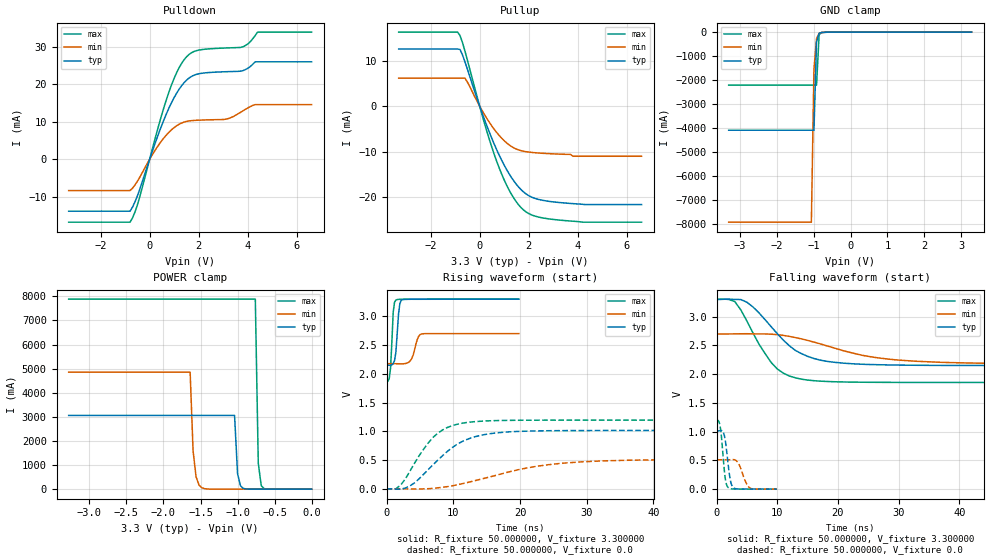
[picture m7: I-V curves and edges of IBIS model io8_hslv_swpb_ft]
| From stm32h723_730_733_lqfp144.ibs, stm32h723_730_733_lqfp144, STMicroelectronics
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|   Model io8_hslv_swpb_ft
[Model]  io8_hslv_swpb_ft
Model_type I/O
Polarity   Non-Inverting
Enable   Active-High
Vinl =   0.990000V
Vinh =   2.310000V
Vmeas =  1.650000V
Cref =   30.000000pF
Rref =   100.000000M
Vref =   0.0V
C_comp   3.967800pF   3.912100pF   4.043600pF
[Temperature Range]   25.000000   0.140000k   -40.000000
[Pullup Reference]   3.300000V   2.700000V   3.300000V
[Pulldown Reference]   0.0V   0.0V   0.0V
[POWER Clamp Reference]   3.300000V   2.700000V   3.600000V
[GND Clamp Reference]   0.0V   0.0V   0.0V
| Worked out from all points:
|   slope of the pulldown table from 0 to 0.495 V, typ, clamps not added: 54.3 ohm
|   slope of the pullup table from 0 to 0.495 V, typ, clamps not added: 70 ohm
|   GND clamp passes 1 mA (typ) near -0.47 V on its own axis
|   POWER clamp passes 1 mA (typ) near -0.83 V on its own axis
|   rising waveform, R_fixture 50.000000, V_fixture 3.300000: 20-80 % time 426ps typ, 771ps min, 355ps max; typ from 2.15 V to 3.3 V
|   rising waveform, R_fixture 50.000000, V_fixture 0.0: 20-80 % time 6.02ns typ, 11.6ns min, 4.41ns max; typ from 0 V to 1.01 V
|   falling waveform, R_fixture 50.000000, V_fixture 3.300000: 20-80 % time 6.61ns typ, 12.1ns min, 4.97ns max; typ from 3.3 V to 2.15 V
|   falling waveform, R_fixture 50.000000, V_fixture 0.0: 20-80 % time 707ps typ, 1.11ns min, 611ps max; typ from 1.01 V to 0 V
[Pulldown]
|Voltage   I(typ)   I(min)   I(max)
-3.3V     -13.9mA    -8.376mA   -16.84mA
-800mV    -13.9mA    -8.376mA   -16.84mA
-500mV    -9.826mA   -5.888mA   -12.25mA
200mV     3.841mA    2.171mA    4.986mA
800mV     13.88mA    7.302mA    18.24mA
1.2V      18.72mA    9.355mA    24.47mA
1.6V      21.68mA    10.23mA    27.99mA
2V        22.85mA    10.44mA    29.18mA
3.1V      23.4mA     10.71mA    29.75mA
3.8V      23.69mA    12.93mA    30.06mA
4.4V      26.05mA    14.6mA     34mA
6.6V      26.05mA    14.6mA     34mA
[Pullup]
|Voltage   I(typ)   I(min)   I(max)
-3.3V     12.54mA    6.145mA    16.24mA
-900mV    12.54mA    6.145mA    16.24mA
-800mV    12.42mA    6.145mA    15.49mA
-600mV    9.743mA    6.145mA    12.1mA
200mV     -2.991mA   -1.885mA   -3.825mA
700mV     -9.639mA   -5.823mA   -12.19mA
1V        -12.95mA   -7.595mA   -16.2mA
1.3V      -15.7mA    -8.872mA   -19.38mA
1.8V      -18.88mA   -9.913mA   -22.84mA
2.3V      -20.32mA   -10.25mA   -24.21mA
3.1V      -21.07mA   -10.5mA    -24.92mA
6.6V      -21.6mA    -11mA      -25.47mA
[GND_clamp]
|Voltage   I(typ)   I(min)   I(max)
-3.3V     -4.099A    -7.939A    -2.216A
-1.06V    -4.099A    -7.939A    -2.216A
-990mV    -4.099A    -1.545A    -2.216A
-920mV    -409.4mA   -268.6mA   -2.216A
-850mV    -47.02mA   -52.58mA   -111mA
-780mV    -15.54mA   -17.16mA   -18.52mA
-500mV    -1.413mA   -2.074mA   -1.238mA
3.28V     0A         -20.35nA   0A
[POWER_clamp]
|Voltage   I(typ)   I(min)   I(max)
-3.28V    3.058A     4.852A     7.885A
-1.64V    3.058A     4.852A     7.885A
-1.6V     3.058A     1.577A     7.885A
-1.56V    3.058A     512.9mA    7.885A
-1.52V    3.058A     166.8mA    7.885A
-1.04V    3.058A     686.1nA    7.885A
-1V       644.7mA    523.2nA    7.885A
-960mV    135.9mA    466.4nA    7.885A
-760mV    56.56uA    413.9nA    7.885A
-720mV    11.93uA    408.4nA    1.077A
-680mV    2.519uA    403nA      147.1mA
0V        0A         55.01nA    0A
[Ramp]
| variable   typ   min   max
dV/dt_r  0.60912/6.05469n   0.30591/11.63680n   0.71544/4.40780n
dV/dt_f  0.69030/6.60941n   0.31458/12.05950n   0.86748/4.95506n
R_load = 50.000000
[Rising Waveform]
R_fixture= 50.000000
V_fixture= 3.300000
V_fixture_min= 2.700000
V_fixture_max= 3.300000
|time   V(typ)   V(min)   V(max)
0s        2.15V      2.176V     1.855V
600.6ps   2.15V      2.176V     2.096V
1.001ns   2.176V     2.176V     3.073V
1.401ns   2.376V     2.176V     3.283V
1.802ns   3.043V     2.175V     3.294V
2.002ns   3.225V     2.174V     3.296V
2.402ns   3.289V     2.174V     3.297V
3.604ns   3.297V     2.233V     3.298V
5.205ns   3.297V     2.692V     3.299V
19.82ns   3.298V     2.7V       3.3V
[Rising Waveform]
R_fixture= 50.000000
V_fixture= 0.0
V_fixture_min= 0.0
V_fixture_max= 0.0
|time   V(typ)   V(min)   V(max)
0s        144.5uV    1.836uV    -1.482mV
1.401ns   -4.87mV    54.72uV    1.619mV
2.102ns   -5.954mV   64uV       63.28mV
4.204ns   104.1mV    -3.545mV   447.1mV
6.306ns   341.1mV    2.231mV    805.8mV
7.708ns   501.6mV    17.76mV    970mV
11.91ns   852.5mV    104mV      1.152V
17.52ns   983.8mV    269.1mV    1.189V
28.73ns   1.013V     465.1mV    1.194V
69.37ns   1.014V     509.8mV    1.194V
[Falling Waveform]
R_fixture= 50.000000
V_fixture= 3.300000
V_fixture_min= 2.700000
V_fixture_max= 3.300000
|time   V(typ)   V(min)   V(max)
0s        3.298V     2.7V       3.3V
3.003ns   3.3V       2.701V     3.264V
5.005ns   3.252V     2.703V     2.924V
7.007ns   3.066V     2.7V       2.521V
10.01ns   2.705V     2.687V     2.091V
13.01ns   2.412V     2.636V     1.936V
15.02ns   2.31V      2.587V     1.897V
24.02ns   2.173V     2.328V     1.86V
33.03ns   2.154V     2.224V     1.856V
99.1ns    2.15V      2.176V     1.855V
[Falling Waveform]
R_fixture= 50.000000
V_fixture= 0.0
V_fixture_min= 0.0
V_fixture_max= 0.0
|time   V(typ)   V(min)   V(max)
0s        1.014V     509.8mV    1.194V
600.6ps   1.018V     509.7mV    1.09V
1.201ns   965.4mV    509.5mV    420.9mV
1.502ns   808.1mV    509.1mV    142.8mV
1.902ns   442.8mV    509mV      28.62mV
2.402ns   100.2mV    512.3mV    4.138mV
2.903ns   15.94mV    511.5mV    937.4uV
3.704ns   1.919mV    429.2mV    -211.9uV
5.506ns   855.6uV    18.73mV    -1.023mV
9.91ns    144.5uV    1.836uV    -1.482mV
